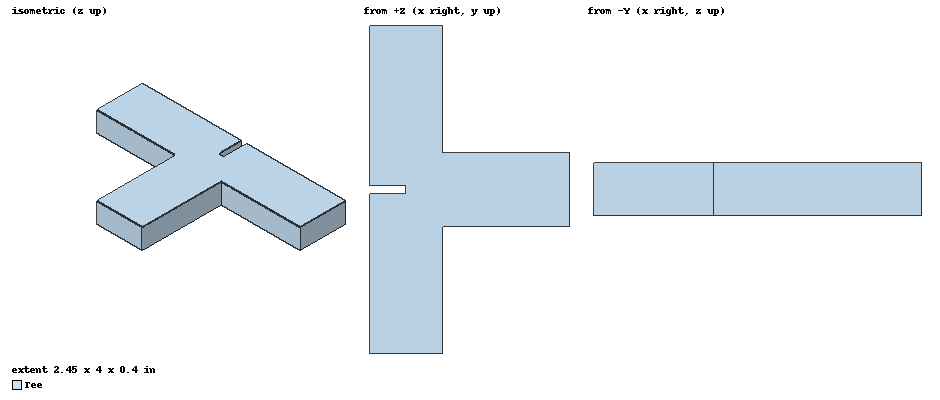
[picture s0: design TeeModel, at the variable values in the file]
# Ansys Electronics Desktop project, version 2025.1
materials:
  vacuum: permittivity=1

design TeeModel (HFSS, HFSS Hybrid Modal Network, model units in)
options: Save_Adaptive_support_files
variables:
  offset = 0in  # optimise 0.1in..0.3in
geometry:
  Tee [vacuum] = box(corner=(0in, -0.45in, 0in), size=(2in, 0.9in, 0.4in))
  Tee_1 = Tee.duplicate_around_axis(axis=Z, angle=90deg, total=2)
  Tee_2 = Tee.duplicate_around_axis(axis=Z, angle=-90deg, total=2)
  Tee.unite(Tee_1, Tee_2)
  Septum = box(corner=(-0.45in, offset-.05in, 0in), size=(0.45in, 0.1in, 0.4in))
  Tee.subtract(Septum)
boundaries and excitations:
  Port1: Wave Port Faces=Tee.face(+x) WavePortType=Modal NumModes=1 Modes{Mode1{IntLine{(2, 0, 0) -> (2, 0, 0.4)} CharImp=Zpi}}
  Port2: Wave Port Faces=Tee.face(at (0, 2, 0.2)) WavePortType=Modal NumModes=1 Modes{Mode1{IntLine{(0, 2, 0) -> (0, 2, 0.4)} CharImp=Zpi}}
  Port3: Wave Port Faces=Tee.face(at (0, -2, 0.2)) WavePortType=Modal NumModes=1 Modes{Mode1{IntLine{(0, -2, 0) -> (0, -2, 0.4)} CharImp=Zpi}}
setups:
  Setup1: HfssDriven Frequency=10GHz MaxDeltaS=0.02 MaximumPasses=12 MinimumPasses=1 MinimumConvergedPasses=1 PercentRefinement=30 BasisOrder=2 PortAccuracy=2 DrivenSolverType="Auto Select Direct/Iterative" IESolverType=ACA
    sweep Sweep1: 8GHz to 10GHz step 0.05GHz; Type=Interpolating InterpTolerance=0.5 InterpMaxSolns=20 InterpUsePortImped=false InterpUsePropConst=false
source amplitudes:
  Port1:1: 1 0deg
  Port2:1, Port3:1: 0 0deg
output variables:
  Power11 = mag(S(Port1,Port1))
  Power21 = mag(S(Port2,Port1))
  Power31 = mag(S(Port3,Port1))
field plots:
  Mag_E1: E Field over Tee.face(+z) on Setup1 : LastAdaptive at Freq=10GHz Phase=0deg
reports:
  S Parameters: dB(S(Port1,Port1)), dB(S(Port1,Port2)), dB(S(Port1,Port3)) vs Freq on Setup1 : Sweep1
